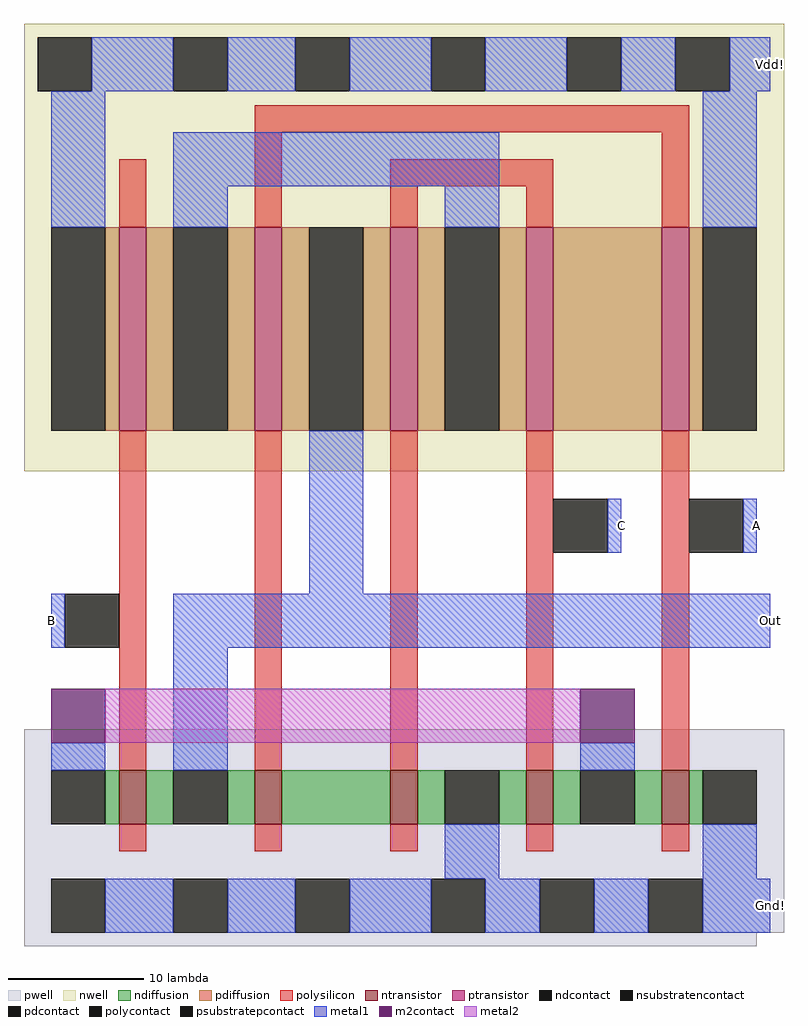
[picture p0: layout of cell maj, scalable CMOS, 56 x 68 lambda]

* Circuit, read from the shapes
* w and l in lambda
.subckt maj A B C Gnd! Out Vdd!
M1 Out B n1 Gnd! nfet w=4 l=2
M2 n2 A Out Gnd! nfet w=4 l=2
M3 Gnd! C n2 Gnd! nfet w=4 l=2
M4 n1 C Gnd! Gnd! nfet w=4 l=2
M5 Gnd! A n1 Gnd! nfet w=4 l=2
M6 n3 B Vdd! Vdd! pfet w=15 l=2
M7 Out A n3 Vdd! pfet w=15 l=2
M8 n3 C Out Vdd! pfet w=15 l=2
M9 n4 C n3 Vdd! pfet w=15 l=2
M10 Vdd! A n4 Vdd! pfet w=15 l=2
.ends

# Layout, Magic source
magic
tech scmos
<< pwell >>
rect -6 -35 50 -20
rect -6 -36 48 -35
<< nwell >>
rect -6 -1 50 32
<< polysilicon >>
rect 11 24 43 26
rect 1 17 3 22
rect 11 17 13 24
rect 21 20 33 22
rect 21 17 23 20
rect 31 17 33 20
rect 41 17 43 24
rect 1 -23 3 2
rect 11 -23 13 2
rect 21 -23 23 2
rect 31 -23 33 2
rect 41 -23 43 2
rect 1 -29 3 -27
rect 11 -29 13 -27
rect 21 -29 23 -27
rect 31 -29 33 -27
rect 41 -29 43 -27
<< ndiffusion >>
rect 0 -27 1 -23
rect 3 -27 5 -23
rect 9 -27 11 -23
rect 13 -27 21 -23
rect 23 -27 25 -23
rect 29 -27 31 -23
rect 33 -27 35 -23
rect 39 -27 41 -23
rect 43 -27 44 -23
<< pdiffusion >>
rect 0 2 1 17
rect 3 2 5 17
rect 9 2 11 17
rect 13 2 15 17
rect 19 2 21 17
rect 23 2 25 17
rect 29 2 31 17
rect 33 2 41 17
rect 43 2 44 17
<< metal1 >>
rect -1 27 5 31
rect 9 27 14 31
rect 18 27 24 31
rect 28 27 34 31
rect 38 27 42 31
rect 46 27 49 31
rect -4 17 0 27
rect 5 20 29 24
rect 5 17 9 20
rect 25 17 29 20
rect 44 17 48 27
rect 15 -10 19 2
rect 37 -7 38 -3
rect 47 -7 48 -3
rect -4 -14 -3 -10
rect 5 -14 49 -10
rect -4 -23 0 -21
rect 5 -23 9 -14
rect 35 -23 39 -21
rect 25 -31 29 -27
rect 44 -31 48 -27
rect 0 -35 5 -31
rect 9 -35 14 -31
rect 18 -35 24 -31
rect 28 -35 32 -31
rect 36 -35 40 -31
rect 44 -35 49 -31
<< metal2 >>
rect 0 -21 35 -17
<< ntransistor >>
rect 1 -27 3 -23
rect 11 -27 13 -23
rect 21 -27 23 -23
rect 31 -27 33 -23
rect 41 -27 43 -23
<< ptransistor >>
rect 1 2 3 17
rect 11 2 13 17
rect 21 2 23 17
rect 31 2 33 17
rect 41 2 43 17
<< polycontact >>
rect -3 -14 1 -10
rect 33 -7 37 -3
rect 43 -7 47 -3
<< ndcontact >>
rect -4 -27 0 -23
rect 5 -27 9 -23
rect 25 -27 29 -23
rect 35 -27 39 -23
rect 44 -27 48 -23
<< pdcontact >>
rect -4 2 0 17
rect 5 2 9 17
rect 15 2 19 17
rect 25 2 29 17
rect 44 2 48 17
<< m2contact >>
rect -4 -21 0 -17
rect 35 -21 39 -17
<< psubstratepcontact >>
rect -4 -35 0 -31
rect 5 -35 9 -31
rect 14 -35 18 -31
rect 24 -35 28 -31
rect 32 -35 36 -31
rect 40 -35 44 -31
<< nsubstratencontact >>
rect -5 27 -1 31
rect 5 27 9 31
rect 14 27 18 31
rect 24 27 28 31
rect 34 27 38 31
rect 42 27 46 31
<< labels >>
rlabel metal1 -4 -14 -4 -10 3 B
rlabel metal1 38 -7 38 -3 1 C
rlabel metal1 48 -7 48 -3 7 A
rlabel metal1 49 27 49 31 6 Vdd!
rlabel metal1 49 -35 49 -31 8 Gnd!
rlabel metal1 49 -14 49 -10 7 Out
<< end >>
